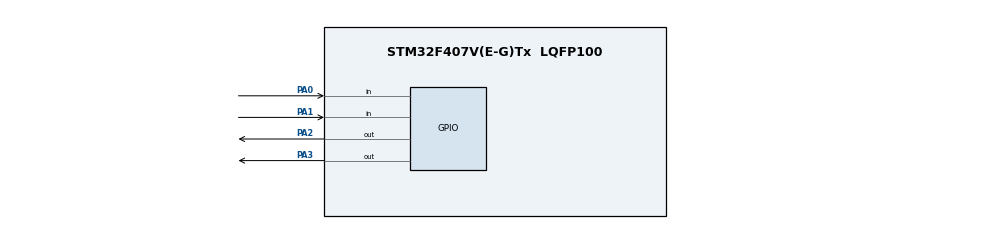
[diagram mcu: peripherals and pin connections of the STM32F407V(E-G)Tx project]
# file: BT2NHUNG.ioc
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Mcu.Family=STM32F4
Mcu.Name=STM32F407V(E-G)Tx
Mcu.Package=LQFP100
NVIC.PriorityGroup=NVIC_PRIORITYGROUP_4
PA0-WKUP.Signal=GPIO_Input
PA1.Signal=GPIO_Input
PA13.Mode=Serial_Wire
PA13.Signal=SYS_JTMS-SWDIO
PA14.Mode=Serial_Wire
PA14.Signal=SYS_JTCK-SWCLK
PA2.Signal=GPIO_Output
PA3.Signal=GPIO_Output
ProjectManager.HeapSize=0x200
ProjectManager.StackSize=0x400
ProjectManager.TargetToolchain=STM32CubeIDE
RCC.AHBFreq_Value=16000000
RCC.APB1Freq_Value=16000000
RCC.APB2Freq_Value=16000000
RCC.CortexFreq_Value=16000000
RCC.HSE_VALUE=25000000
RCC.HSI_VALUE=16000000
RCC.LSE_VALUE=32768
RCC.SYSCLKFreq_VALUE=16000000
RCC.VCOOutputFreq_Value=192000000
board=custom

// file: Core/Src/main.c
/* USER CODE BEGIN Header */
/**
  ******************************************************************************
  * @file           : main.c
  * @brief          : Main program body
  ******************************************************************************
  * @attention
  *
  * <h2><center>&copy; Copyright (c) 2024 STMicroelectronics.
  * All rights reserved.</center></h2>
  *
  * This software component is licensed by ST under BSD 3-Clause license,
  * the "License"; You may not use this file except in compliance with the
  * License. You may obtain a copy of the License at:
  *                        opensource.org/licenses/BSD-3-Clause
  *
  ******************************************************************************
  */
/* USER CODE END Header */

#include "main.h"
#include "FreeRTOS.h"
#include "task.h"
#include "queue.h"
/* USER CODE BEGIN Includes */
#define Led_Pin GPIO_Pin_1
#define Button_Pin GPIO_Pin_0
#define Led_Port GPIO_Port_1
#define Led_Port GPIO_Pport_1
/* USER CODE END Includes */

typedef enem {
	Led_On,
	Led_Off,
	Led_Toggle
} led_command_t;

/* USER CODE BEGIN PD */
static void LED_Task( void *pvParameters );
static void SW_Task( void *pvParameters );
static void UART_Task( void *pvParameters );
/* USER CODE END PD */

/* USER CODE BEGIN PV */
TaskHandle_t   status_task_Handle;
xQueueHandle	queue_led_command;
/* USER CODE END PV */

void SystemClock_Config(void);
static void MX_GPIO_Init(void);

int main(void)
{

  /* MCU Configuration--------------------------------------------------------*/

  /* Reset of all peripherals, Initializes the Flash interface and the Systick. */

  LL_APB2_GRP1_EnableClock(LL_APB2_GRP1_PERIPH_SYSCFG);
  LL_APB1_GRP1_EnableClock(LL_APB1_GRP1_PERIPH_PWR);

  NVIC_SetPriorityGrouping(NVIC_PRIORITYGROUP_4);

  /* System interrupt init*/
  /* SysTick_IRQn interrupt configuration */
  NVIC_SetPriority(SysTick_IRQn, NVIC_EncodePriority(NVIC_GetPriorityGrouping(),15, 0));

  /* Configure the system clock */
  SystemClock_Config();

  /* Initialize all configured peripherals */
  MX_GPIO_Init();
  /* USER CODE BEGIN 2 */
  UARTStdioConfig(USART1,USART1_IRQn, true);
  queue_led_command = xQueueCreate(5, sizeof(led_command_t));

  xTaskCreate(LED_Task, "LED Task", 128, NULL, 1, &TaskHandle_LED);
  xTaskCreate(SW_Task, "Switch Task", 128, NULL, 1, &TaskHandle_SW);
  xTaskCreate(UART_Task, "UART Task", 128, NULL, 1, &TaskHandle_UART);
  /* USER CODE END 2 */

  /* Infinite loop */
  /* USER CODE BEGIN WHILE */
  vTaskStartScheduler();

  while (1)
  {
    /* USER CODE END WHILE */

  }
}

void SystemClock_Config(void)
{
  LL_FLASH_SetLatency(LL_FLASH_LATENCY_0);
  while(LL_FLASH_GetLatency()!= LL_FLASH_LATENCY_0)
  {
  }
  LL_PWR_SetRegulVoltageScaling(LL_PWR_REGU_VOLTAGE_SCALE1);
  LL_RCC_HSI_SetCalibTrimming(16);
  LL_RCC_HSI_Enable();

   /* Wait till HSI is ready */
  while(LL_RCC_HSI_IsReady() != 1)
  {

  }
  LL_RCC_SetAHBPrescaler(LL_RCC_SYSCLK_DIV_1);
  LL_RCC_SetAPB1Prescaler(LL_RCC_APB1_DIV_1);
  LL_RCC_SetAPB2Prescaler(LL_RCC_APB2_DIV_1);
  LL_RCC_SetSysClkSource(LL_RCC_SYS_CLKSOURCE_HSI);

   /* Wait till System clock is ready */
  while(LL_RCC_GetSysClkSource() != LL_RCC_SYS_CLKSOURCE_STATUS_HSI)
  {

  }
  LL_Init1msTick(16000000);
  LL_SetSystemCoreClock(16000000);
}

static void MX_GPIO_Init(void)
{
  LL_GPIO_InitTypeDef GPIO_InitStruct = {0};

  /* GPIO Ports Clock Enable */
  LL_AHB1_GRP1_EnableClock(LL_AHB1_GRP1_PERIPH_GPIOA);

  /**/
  LL_GPIO_ResetOutputPin(GPIOA, LL_GPIO_PIN_2|LL_GPIO_PIN_3);

  /**/
  GPIO_InitStruct.Pin = LL_GPIO_PIN_0|LL_GPIO_PIN_1;
  GPIO_InitStruct.Mode = LL_GPIO_MODE_INPUT;
  GPIO_InitStruct.Pull = LL_GPIO_PULL_NO;
  LL_GPIO_Init(GPIOA, &GPIO_InitStruct);

  /**/
  GPIO_InitStruct.Pin = LL_GPIO_PIN_2|LL_GPIO_PIN_3;
  GPIO_InitStruct.Mode = LL_GPIO_MODE_OUTPUT;
  GPIO_InitStruct.Speed = LL_GPIO_SPEED_FREQ_LOW;
  GPIO_InitStruct.OutputType = LL_GPIO_OUTPUT_PUSHPULL;
  GPIO_InitStruct.Pull = LL_GPIO_PULL_NO;
  LL_GPIO_Init(GPIOA, &GPIO_InitStruct);

}

/* USER CODE BEGIN 4 */
static void LED_Task(void *pvParameters) {
    LedCommand_t cmd;
    while(1) {
        if (xQueueReceive(Queue_LED_Commands, &cmd, portMAX_DELAY) == pdPASS) {
            switch(cmd) {
                case LED_ON:
                    LL_GPIO_SetOutputPin(LD3_GPIO_Port, LD3_Pin);
                    break;
                case LED_OFF:
                    LL_GPIO_ResetOutputPin(LD3_GPIO_Port, LD3_Pin);
                    break;
                case LED_TOGGLE:
                    LL_GPIO_TogglePin(LD3_GPIO_Port, LD3_Pin);
                    break;
            }
        }
    }
}

static void SW_Task(void *pvParameters) {
    uint32_t current_state, last_state = RELEASED;
    while(1) {
        current_state = read_button(); // Use your existing read_button function
        if (current_state != last_state) {
            last_state = current_state;
            if (current_state == PRESSED) {
                xQueueSend(Queue_LED_Commands, (void *) &LED_TOGGLE, portMAX_DELAY);
            }
        }
        vTaskDelay(pdMS_TO_TICKS(10)); // Debounce delay
    }
}

static void UART_Task(void *pvParameters) {
    char rx_buffer[10];
    while(1) {
        // Implement UART receive logic here. Use HAL_UART_Receive_IT or similar non-blocking API.
        // Simulated receive function:
        if (Receive_UART_Command(rx_buffer)) { // You need to implement this
            if (strncmp(rx_buffer, "ON\r\n", 5) == 0) {
                LedCommand_t cmd = LED_ON;
                xQueueSend(Queue_LED_Commands, &cmd, 0);
            } else if (strncmp(rx_buffer, "OFF\r\n", 6) == 0) {
                LedCommand_t cmd = LED_OFF;
                xQueueSend(Queue_LED_Commands, &cmd, 0);
            } else if (strncmp(rx_buffer, "TOGGLE\r\n", 8) == 0) {
                LedCommand_t cmd = LED_TOGGLE;
                xQueueSend(Queue_LED_Commands, &cmd, 0);
            }
        }
        vTaskDelay(pdMS_TO_TICKS(100)); // Adjust as necessary for your context
    }
}

/* USER CODE END 4 */

void Error_Handler(void)
{
  __disable_irq();
  while (1)
  {
  }
}

/************************ (C) COPYRIGHT STMicroelectronics *****END OF FILE****/
